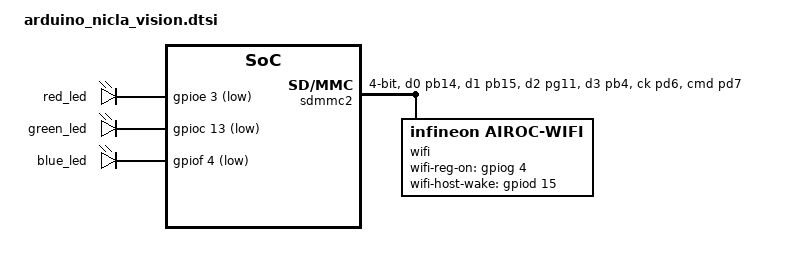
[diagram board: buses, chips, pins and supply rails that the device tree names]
/*
 * Copyright 2024 Felipe Neves
 *
 * SPDX-License-Identifier: Apache-2.0
 */

/ {
	aliases {
		sdhc0 = &sdhc;
	};

	leds {
		compatible = "gpio-leds";
		red_led: led_0 {
			gpios = <&gpioe 3 GPIO_ACTIVE_LOW>;
		};
		green_led: led_1 {
			gpios = <&gpioc 13 GPIO_ACTIVE_LOW>;
		};
		blue_led: led_2 {
			gpios = <&gpiof 4 GPIO_ACTIVE_LOW>;
		};
	};
};

&rcc {
	d1cpre = <1>;
	hpre = <2>;
	d1ppre = <2>;
	d2ppre1 = <2>;
	d2ppre2 = <2>;
	d3ppre = <2>;
};

&mailbox {
	status = "okay";
};

sdhc: &sdmmc2 {
	compatible = "st,stm32-sdio";
	interrupts = <124 0>;
	interrupt-names = "event";
	pinctrl-0 = <&sdmmc2_d0_pb14 &sdmmc2_d1_pb15
			&sdmmc2_d2_pg11 &sdmmc2_d3_pb4
			&sdmmc2_ck_pd6 &sdmmc2_cmd_pd7>;
	pinctrl-names = "default";
	sdhi-on-gpios = <&gpiog 4 GPIO_ACTIVE_HIGH>;
	min-bus-freq = <DT_FREQ_K(400)>;
	max-bus-freq = <DT_FREQ_M(208)>;
	hw-flow-control;
	bus-width = <4>;
	status = "okay";

	wifi: airoc-wifi {
		status = "okay";
		compatible = "infineon,airoc-wifi";
		wifi-reg-on-gpios = <&gpiog 4 GPIO_ACTIVE_HIGH>;
		wifi-host-wake-gpios = <&gpiod 15 GPIO_ACTIVE_HIGH>;
	};
};
